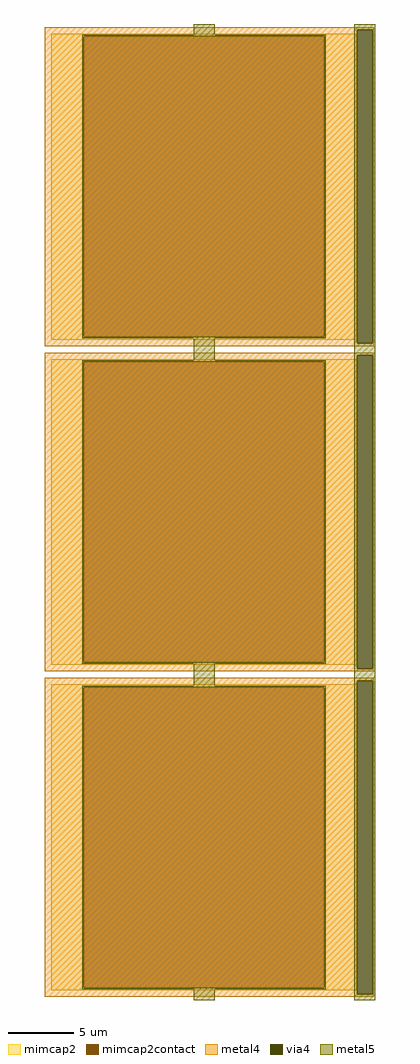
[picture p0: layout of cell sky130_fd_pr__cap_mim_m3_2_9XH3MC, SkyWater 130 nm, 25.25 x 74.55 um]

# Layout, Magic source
magic
tech sky130A
magscale 1 2
<< metal4 >>
rect -2514 7364 2514 7405
rect -2514 2576 2258 7364
rect 2494 2576 2514 7364
rect -2514 2535 2514 2576
rect -2514 2394 2514 2435
rect -2514 -2394 2258 2394
rect 2494 -2394 2514 2394
rect -2514 -2435 2514 -2394
rect -2514 -2576 2514 -2535
rect -2514 -7364 2258 -2576
rect 2494 -7364 2514 -2576
rect -2514 -7405 2514 -7364
<< via4 >>
rect 2258 2576 2494 7364
rect 2258 -2394 2494 2394
rect 2258 -7364 2494 -2576
<< mimcap2 >>
rect -2414 7265 2256 7305
rect -2414 2675 -1915 7265
rect 1757 2675 2256 7265
rect -2414 2635 2256 2675
rect -2414 2295 2256 2335
rect -2414 -2295 -1915 2295
rect 1757 -2295 2256 2295
rect -2414 -2335 2256 -2295
rect -2414 -2675 2256 -2635
rect -2414 -7265 -1915 -2675
rect 1757 -7265 2256 -2675
rect -2414 -7305 2256 -7265
<< mimcap2contact >>
rect -1915 2675 1757 7265
rect -1915 -2295 1757 2295
rect -1915 -7265 1757 -2675
<< metal5 >>
rect -239 7289 81 7455
rect 2216 7364 2536 7455
rect -1939 7265 1781 7289
rect -1939 2675 -1915 7265
rect 1757 2675 1781 7265
rect -1939 2651 1781 2675
rect -239 2319 81 2651
rect 2216 2576 2258 7364
rect 2494 2576 2536 7364
rect 2216 2394 2536 2576
rect -1939 2295 1781 2319
rect -1939 -2295 -1915 2295
rect 1757 -2295 1781 2295
rect -1939 -2319 1781 -2295
rect -239 -2651 81 -2319
rect 2216 -2394 2258 2394
rect 2494 -2394 2536 2394
rect 2216 -2576 2536 -2394
rect -1939 -2675 1781 -2651
rect -1939 -7265 -1915 -2675
rect 1757 -7265 1781 -2675
rect -1939 -7289 1781 -7265
rect -239 -7455 81 -7289
rect 2216 -7364 2258 -2576
rect 2494 -7364 2536 -2576
rect 2216 -7455 2536 -7364
<< properties >>
string FIXED_BBOX -2514 2535 2356 7405
string gencell sky130_fd_pr__cap_mim_m3_2
string library sky130
string parameters w 23.35 l 23.35 val 1.108k carea 2.00 cperi 0.19 nx 1 ny 3 dummy 0 square 0 lmin 2.00 wmin 2.00 lmax 30.0 wmax 30.0 dc 0 bconnect 1 tconnect 1 ccov 80
<< end >>
